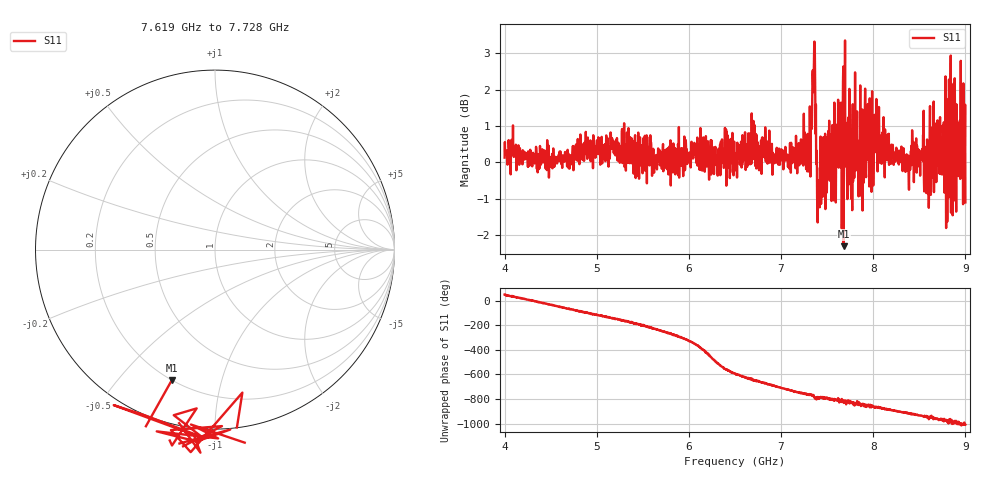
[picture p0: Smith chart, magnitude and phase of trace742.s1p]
! Created with skrf 1.8.0 (http://scikit-rf.org).
# Hz S RI R 50.0
!freq ReS11 ImS11
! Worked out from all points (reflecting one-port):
!   1601 points, 4 GHz to 9 GHz, reference 50 ohm
!   lowest |S11| = -2.3 dB at 7.678 GHz (marker M1), VSWR 7.59, Z = 9.93 - j35.2 ohm
!   phase of S11 starts at 49 deg and turns -1057 deg over the sweep
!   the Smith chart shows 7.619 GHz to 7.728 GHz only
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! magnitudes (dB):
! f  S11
! 4 GHz  0.1
! 4.625 GHz  -0.1
! 5.25 GHz  0.0
! 5.875 GHz  0.4
! 6.416 GHz  -0.2
! 6.5 GHz  -0.2
! 6.703 GHz  0.1
! 7.125 GHz  0.3
! 7.294 GHz  0.3
! 7.347 GHz  2.2
! 7.366 GHz  3.1
! 7.4 GHz  -0.5
! 7.416 GHz  -0.9
! 7.453 GHz  0.2
! 7.572 GHz  0.8
! 7.678 GHz  -2.3
! 7.75 GHz  0.1
! 8.038 GHz  0.6
! 8.375 GHz  0.2
! 8.522 GHz  0.1
! 8.578 GHz  0.4
! 8.656 GHz  1.7
! 8.794 GHz  1.8
! 8.819 GHz  -0.4
! 8.875 GHz  0.3
! 8.959 GHz  1.9
! 8.972 GHz  1.0
! 9 GHz  -1.1
